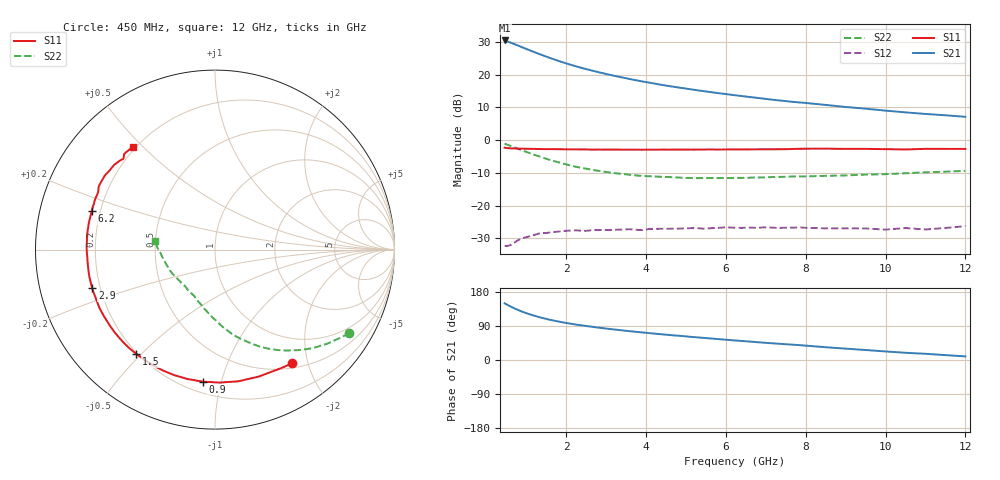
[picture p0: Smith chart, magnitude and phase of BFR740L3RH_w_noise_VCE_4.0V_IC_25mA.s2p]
! (c) 2012  Infineon Technologies AG, Munich
! Infineon Technologies  Discrete & RF Semiconductors
! BFR740L3RH
! VCE =  4.0 V,  IC =  25 mA
! Common Emitter S-Parameters:  May 2012
# GHz  S  MA  R  50
!  f  S11  S21  S12  S22
! GHz  MAG  ANG  MAG  ANG  MAG  ANG  MAG  ANG
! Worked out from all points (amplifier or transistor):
!   85 points, 450 MHz to 12 GHz, reference 50 ohm
!   highest |S21| = 30.4 dB at 450 MHz (marker M1)
!   |S21| within 3 dB of that: start of sweep to 1.079 GHz
!   unconditionally stable (mu >= 1): 6.285 GHz to end of sweep
!   at 1.8 GHz: K = 0.29, MSG = 26.0 dB, |S12| = -27.9 dB
!   at 4.6 GHz: K = 0.75, MSG = 21.7 dB, |S12| = -27.1 dB
!   at 12 GHz: K = 1.95, MAG = 11.1 dB, |S12| = -26.2 dB
!   lowest NFmin = 1.03 dB at 450 MHz
!   S11 on the Smith chart (normalised r, x): 450 MHz: 0.57, -1.74; 900 MHz: 0.27, -0.87; 1.5 GHz: 0.20, -0.48; 2.9 GHz: 0.17, -0.15; 6.2 GHz: 0.17, +0.15; 12 GHz: 0.19, +0.47
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0.45  0.766 -55.9  33.06 149.6  0.0244 63.0  0.8816 -31.9
0.6  0.7483 -70.9  30.64 141.1  0.0251 55.7  0.8153 -40.1
0.7  0.7453 -80.0  29.02 136.0  0.0275 51.5  0.773 -45.3
0.8  0.7413 -88.1  27.41 131.4  0.03 48.0  0.7317 -49.9
0.9  0.7388 -95.4  25.89 127.2  0.0319 44.7  0.6934 -54.2
1  0.7371 -102.0  24.46 123.4  0.0331 41.7  0.6585 -58.2
1.2  0.7334 -113.4  21.89 116.7  0.0359 36.7  0.5952 -65.2
1.3  0.731 -118.5  20.73 113.7  0.0374 34.9  0.5669 -68.2
1.5  0.7279 -127.0  18.69 108.3  0.0383 32.7  0.5177 -73.9
1.7  0.7267 -134.5  16.92 103.6  0.0397 28.3  0.4767 -78.9
1.9  0.7244 -140.9  15.41 99.5  0.041 28.0  0.4408 -83.2
2.1  0.7217 -146.3  14.11 95.9  0.0417 26.0  0.4104 -87.1
2.4  0.7208 -153.3  12.51 91.1  0.0413 24.3  0.375 -92.7
2.9  0.7173 -162.5  10.51 84.2  0.0425 22.0  0.3335 -100.5
3.6  0.7133 -172.9  8.496 75.9  0.0436 18.9  0.295 -110.6
4.3  0.715 179.4  7.103 68.7  0.0443 19.1  0.2769 -118.8
5.3  0.7175 169.6  5.725 59.5  0.0453 18.2  0.2629 -130.7
6.2  0.7199 162.5  4.853 51.8  0.0462 17.4  0.2647 -140.5
6.3  0.7203 161.7  4.77 51.0  0.046 18.0  0.2652 -141.5
8.5  0.7397 146.1  3.435 33.7  0.0451 15.0  0.285 -164.2
10.5  0.719 135.2  2.645 19.0  0.0456 22.6  0.312 -178.7
12  0.733 128.7  2.264 9.5  0.0487 31.2  0.3392 172.1
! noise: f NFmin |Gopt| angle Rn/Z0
0.45  1.03  0.05  178  0.12
0.9  1.04  0.05  160  0.11
1.5  1.05  0.07  144  0.11
1.9  1.06  0.09  139  0.11
2.4  1.08  0.11  136  0.1
3.5  1.13  0.13  142  0.1
5.5  1.26  0.2  154  0.09
8  1.46  0.27  180  0.09
10  1.64  0.31  -162  0.1
12  1.82  0.36  -140  0.11
